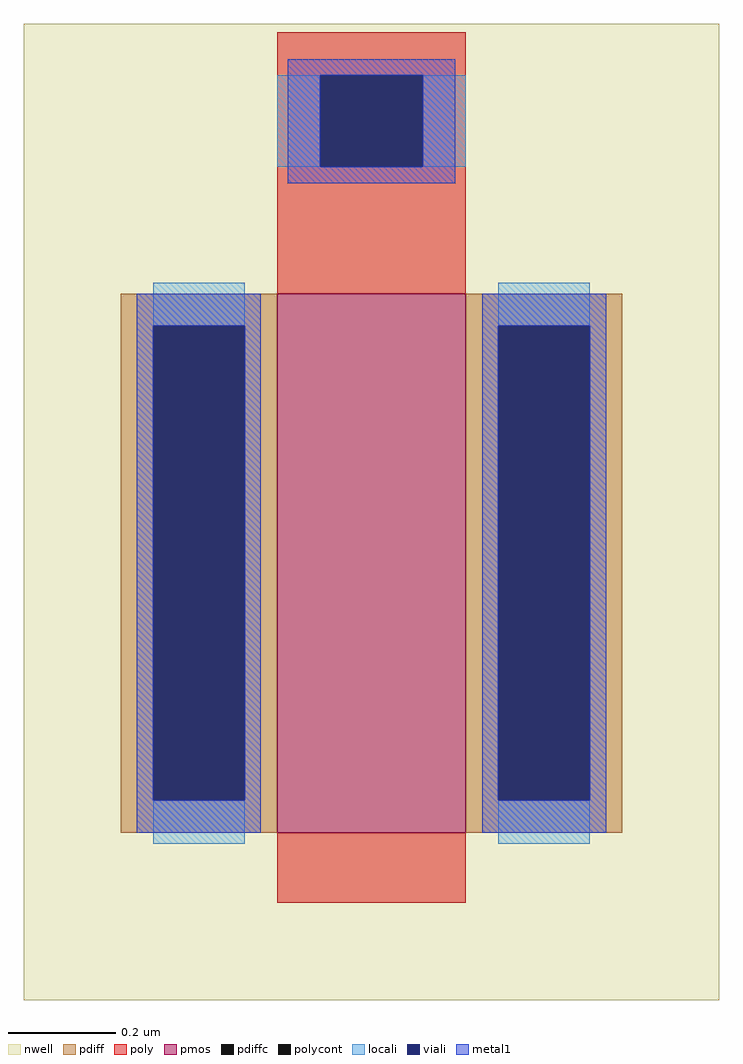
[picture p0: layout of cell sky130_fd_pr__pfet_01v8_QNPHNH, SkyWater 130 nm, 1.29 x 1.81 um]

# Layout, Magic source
magic
tech sky130A
magscale 1 2
<< nwell >>
rect -129 -198 129 164
<< pmos >>
rect -35 -136 35 64
<< pdiff >>
rect -93 52 -35 64
rect -93 -124 -81 52
rect -47 -124 -35 52
rect -93 -136 -35 -124
rect 35 52 93 64
rect 35 -124 47 52
rect 81 -124 93 52
rect 35 -136 93 -124
<< pdiffc >>
rect -81 -124 -47 52
rect 47 -124 81 52
<< poly >>
rect -35 145 35 161
rect -35 111 -19 145
rect 19 111 35 145
rect -35 64 35 111
rect -35 -162 35 -136
<< polycont >>
rect -19 111 19 145
<< locali >>
rect -35 111 -19 145
rect 19 111 35 145
rect -81 52 -47 68
rect -81 -140 -47 -124
rect 47 52 81 68
rect 47 -140 81 -124
<< viali >>
rect -19 111 19 145
rect -81 -124 -47 52
rect 47 -124 81 52
<< metal1 >>
rect -31 145 31 151
rect -31 111 -19 145
rect 19 111 31 145
rect -31 105 31 111
rect -87 52 -41 64
rect -87 -124 -81 52
rect -47 -124 -41 52
rect -87 -136 -41 -124
rect 41 52 87 64
rect 41 -124 47 52
rect 81 -124 87 52
rect 41 -136 87 -124
<< properties >>
string gencell sky130_fd_pr__pfet_01v8
string library sky130
string parameters w 1 l 0.35 m 1 nf 1 diffcov 100 polycov 100 guard 0 glc 0 grc 0 gtc 0 gbc 0 tbcov 100 rlcov 100 topc 1 botc 0 poverlap 0 doverlap 0 lmin 0.15 wmin 0.42 compatible {sky130_fd_pr__pfet_01v8  sky130_fd_pr__pfet_01v8_lvt sky130_fd_pr__pfet_01v8_hvt  sky130_fd_pr__pfet_g5v0d10v5} full_metal 0 viasrc 100 viadrn 100 viagate 100 viagb 0 viagr 0 viagl 0 viagt 0
<< end >>
